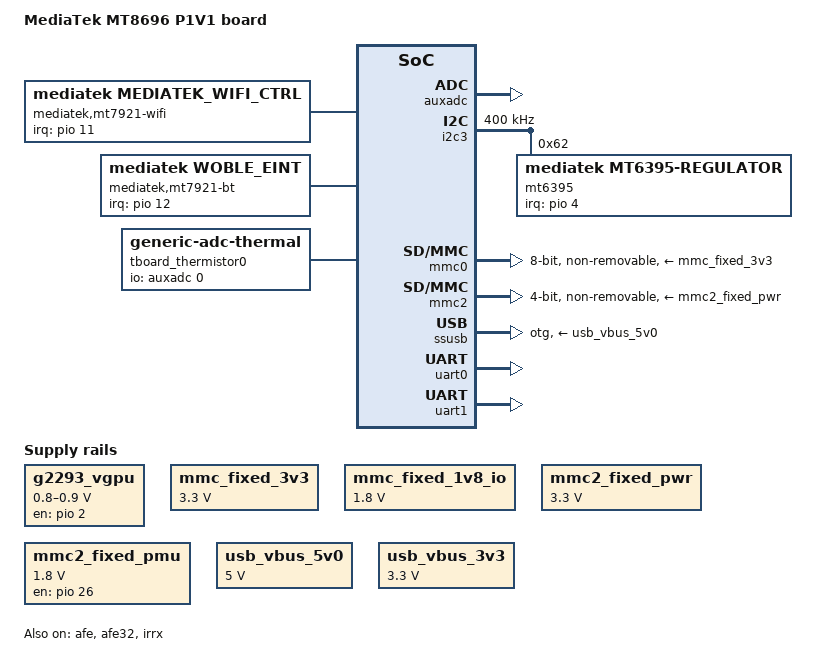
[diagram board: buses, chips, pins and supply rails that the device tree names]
// SPDX-License-Identifier: GPL-2.0+
/*
 * Copyright (c) 2020 MediaTek Inc.
 *
 */

/dts-v1/;

/plugin/;
#include <dt-bindings/interrupt-controller/irq.h>
#include "mediatek/mt8696-pinfunc.h"
#include <dt-bindings/gpio/gpio.h>

#define ROOT_NODE &odm

ROOT_NODE {
	model = "MediaTek MT8696 P1V1 board";
	extcon_usb: extcon_iddig {
		compatible = "linux,extcon-usb-gpio";
		status = "disabled";
	};

	g2293_vgpu: gpio-regulator {
		compatible = "regulator-gpio";
		regulator-name = "g2293_vgpu";
		regulator-min-microvolt = <800000>;
		regulator-max-microvolt = <900000>;
		enable-gpio = <&pio 2 GPIO_ACTIVE_HIGH>;
		gpios = <&pio 28 GPIO_ACTIVE_HIGH>;
		states = <800000 0x0
			900000 0x1>;
		startup-delay-us = <5000>;
		enable-active-high;
	};

	/* WOW IRQ : GPIO0 => EINT11 */
	mediatek,mt7921-wifi {
		compatible = "mediatek,mediatek_wifi_ctrl";
		interrupt-parent = <&pio>;
		interrupts = <11 IRQ_TYPE_LEVEL_LOW 0 0x0>;
		status = "okay";
	};

	/* WOBLE IRQ  GPIO1 => EINT12*/
	mediatek,mt7921-bt {
		compatible = "mediatek,woble_eint";
		interrupt-parent = <&pio>;
		interrupts = <12 IRQ_TYPE_LEVEL_LOW 1 0x0>;
		status = "okay";
	};

	tboard_thermistor0: thermal-sensor {
		compatible = "generic-adc-thermal";
		#thermal-sensor-cells = <0>;
		io-channels = <&auxadc 0>;
		io-channel-names = "sensor-channel";
		temperature-lookup-table = <
						(-40000)	1712
						(-35000)	1686
						(-30000)	1654
						(-25000)	1615
						(-20000)	1570
						(-15000)	1517
						(-10000)	1457
						(-5000)	1390
						0	1316
						5000	1238
						10000	1155
						15000	1070
						20000	985
						25000	900
						30000	817
						35000	737
						40000	663
						45000	593
						50000	529
						55000	471
						60000	418
						65000	370
						70000	328
						75000	290
						80000	258
						85000	228
						90000	203
						95000	180
						100000	160
						105000	143
						110000	127
						115000	114
						120000	102
						125000	91
		>;
	};

	mmc_fixed_3v3: fixedregulator@0 {
		compatible = "regulator-fixed";
		regulator-name = "mmc_power";
		regulator-min-microvolt = <3300000>;
		regulator-max-microvolt = <3300000>;
		enable-active-high;
	};

	mmc_fixed_1v8_io: fixedregulator@1 {
		compatible = "regulator-fixed";
		regulator-name = "mmc_io";
		regulator-min-microvolt = <1800000>;
		regulator-max-microvolt = <1800000>;
		enable-active-high;
	};

	mmc2_fixed_pwr: fixedregulator@2 {
		compatible = "regulator-fixed";
		regulator-name = "sdio_power";
		regulator-min-microvolt = <3300000>;
		regulator-max-microvolt = <3300000>;
		enable-active-high;
		regulator-always-on;
	};

	mmc2_fixed_pmu: fixedregulator@3 {
		compatible = "regulator-fixed";
		regulator-name = "sdio_pmu";
		regulator-min-microvolt = <1800000>;
		regulator-max-microvolt = <1800000>;
		startup-delay-us = <200000>;
		gpio = <&pio 26 0>;
		enable-active-high;
	};

	usb_vbus_5v0: fixedregulator@4 {
		compatible = "regulator-fixed";
		regulator-name = "vbus";
		regulator-min-microvolt = <5000000>;
		regulator-max-microvolt = <5000000>;
		regulator-type = "voltage";
		regulator-always-on;
	};

	usb_vbus_3v3: fixedregulator@5 {
		compatible = "regulator-fixed";
		regulator-name = "usb vbus";
		regulator-min-microvolt = <3300000>;
		regulator-max-microvolt = <3300000>;
		regulator-always-on;
	};
};

&afe {
	mediatek,etdm-clock-modes = <0 1>;
	mediatek,etdm-out-data-modes = <1 1>;
	mediatek,etdm-in-data-modes = <1 1>;
	mediatek,hdmi-clk-force-on = <1>;
	status = "okay";
};

&afe32 {
	mediatek,etdm-in-data-modes = <1 1 0>;
	mediatek,etdm-out-data-modes = <1 1 1>;
	mediatek,spdif-in-arc-mux = <2>;
	status = "okay";
};

&ap_ntc1 {
	thermal-sensors = <&tboard_thermistor0>;
};

&auxadc {
	status = "okay";
};

&dramc {
	dram_type = <5>;
	support_ch_cnt = <2>;
	ch_cnt = <2>;
	rk_cnt = <1>; /* dummy */
	mr_cnt = <4>;
	freq_cnt = <10>;
	rk_size = <0x40000000>;  /* dummy */
	mr = <0 0 0 0 0 0 0 0>;  /* dummy */
	freq_step = <3733 3200 0 0 0 0 0 0 0 0>;
};

&ethernet {
	pinctrl-names = "default";
	pinctrl-0 = <&eth_pins>;
	phy-handle = <&eth_phy>;
	eth-gpios = <&pio 149 0>;
	mac-address = [00 00 00 00 00 00];
	phy-mode = "rgmii";
	status = "disabled";
	mdio {
		#address-cells = <1>;
		#size-cells = <0>;

		eth_phy: ethernet-phy@1 {
			compatible = "ethernet-phy-id001c.c916";
			reg = <1>;
		};
	};
};

&hdmitx {
	pinctrl-names = "default";
	pinctrl-0 = <&hdmi_default>;
};

&i2c3 {
	status = "okay";
	clock-frequency = <400000>;

	mt6395: mt6395@62 {
		compatible = "mediatek,mt6395-regulator";
		mt6395,irq-gpios = <&pio 4 0x0>;
		reg = <0x62>;
		status = "okay";
		pinctrl-names = "default";
		pinctrl-0 = <&pmic_pins_eint>;
	};
};

&irrx {
	pinctrl-names = "default";
	pinctrl-0 = <&irrx_pins_ir_input>;
	status = "okay";
};

&mmc0 {
	status = "okay";
	pinctrl-names = "default", "state_uhs";
	pinctrl-0 = <&mmc0_pins_default>;
	pinctrl-1 = <&mmc0_pins_uhs>;
	bus-width = <8>;
	max-frequency = <200000000>;
	cap-mmc-highspeed;
	mmc-hs200-1_8v;
	mmc-hs400-1_8v;
	supports-cqe;
	hs400-ds-delay = <0x13014>;
	vmmc-supply = <&mmc_fixed_3v3>;
	vqmmc-supply = <&mmc_fixed_1v8_io>;
	non-removable;
	no-sd;
	no-sdio;
};

&mmc2 {
	status = "okay";
	pinctrl-names = "default", "state_uhs", "state_eint",
					"state_dat1", "state_low";
	pinctrl-0 = <&mmc2_pins_default>;
	pinctrl-1 = <&mmc2_pins_uhs>;
	pinctrl-2 = <&mmc2_pins_eint>;
	pinctrl-3 = <&mmc2_pins_dat1>;
	pinctrl-4 = <&mmc2_pins_low>;
	eint-gpios = <&pio 44 0>;
	bus-width = <4>;
	max-frequency = <200000000>;
	cap-sd-highspeed;
	/*sd-uhs-ddr208;*/
	sd-uhs-sdr104;
	sd-uhs-sdr50;
	sd-uhs-sdr25;
	keep-power-in-suspend;
	enable-sdio-wakeup;
	cap-sdio-irq;
	cap-sdio-async-int;
	no-mmc;
	no-sd;
	non-removable;
	vmmc-supply = <&mmc2_fixed_pwr>;
	vqmmc-supply = <&mmc2_fixed_pmu>;
};

&pio {
	eth_pins: eth_default_pins {
		tx_pins {
			pinmux = <PINMUX_GPIO133__FUNC_GBE_TXD3>,
				 <PINMUX_GPIO134__FUNC_GBE_TXD2>,
				 <PINMUX_GPIO135__FUNC_GBE_TXD1>,
				 <PINMUX_GPIO136__FUNC_GBE_TXD0>,
				 <PINMUX_GPIO137__FUNC_GBE_TXC>,
				 <PINMUX_GPIO138__FUNC_GBE_TXEN>;
			drive-strength = <MTK_DRIVE_8mA>;
			bias-disable;
		};
		rx_pins {
			pinmux = <PINMUX_GPIO139__FUNC_GBE_RXD3>,
				 <PINMUX_GPIO140__FUNC_GBE_RXD2>,
				 <PINMUX_GPIO141__FUNC_GBE_RXD1>,
				 <PINMUX_GPIO142__FUNC_GBE_RXD0>,
				 <PINMUX_GPIO143__FUNC_GBE_RXDV>,
				 <PINMUX_GPIO145__FUNC_GBE_RXC>;
			drive-strength = <MTK_DRIVE_8mA>;
			bias-disable;
		};
		mdio_pins {
			pinmux = <PINMUX_GPIO146__FUNC_GBE_MDC>,
				 <PINMUX_GPIO147__FUNC_GBE_MDIO>;
			drive-strength = <MTK_DRIVE_8mA>;
			bias-disable;
		};
		phy_rstb {
			pinmux = <PINMUX_GPIO148__FUNC_GPIO148>;
			output-high;
		};
		gbe_vio33_en {
			pinmux = <PINMUX_GPIO150__FUNC_GPIO150>;
			output-high;
		};
	};

	hdmi_default: hdmi {
		hdmi_cec {
			pinmux = <PINMUX_GPIO110__FUNC_HDMITX20_CEC>;
			bias-disable;
		};
		hdmi_pins {
			pinmux = <PINMUX_GPIO112__FUNC_HDMITX20_SCL>,
				<PINMUX_GPIO113__FUNC_HDMITX20_SDA>;
			bias-disable;
		};
		hdmi_hotplug {
			pinmux = <PINMUX_GPIO111__FUNC_HDMITX20_HTPLG>;
			bias-pull-down;
		};
		hdmi_5vctl {
			pinmux = <PINMUX_GPIO2__FUNC_GPIO2>;
		};
	};

	irrx_pins_ir_input: irrx_pin_ir {
		pins_cmd_dat {
			pinmux = <PINMUX_GPIO63__FUNC_IR_IN>;
			bias-disable;
		};
	};

	mmc0_pins_default: mmc0default {
		pins_cmd_dat {
			pinmux = <PINMUX_GPIO56__FUNC_MSDC0_DAT0>,
				 <PINMUX_GPIO55__FUNC_MSDC0_DAT1>,
				 <PINMUX_GPIO54__FUNC_MSDC0_DAT2>,
				 <PINMUX_GPIO53__FUNC_MSDC0_DAT3>,
				 <PINMUX_GPIO52__FUNC_MSDC0_DAT4>,
				 <PINMUX_GPIO51__FUNC_MSDC0_DAT5>,
				 <PINMUX_GPIO50__FUNC_MSDC0_DAT6>,
				 <PINMUX_GPIO49__FUNC_MSDC0_DAT7>,
				 <PINMUX_GPIO57__FUNC_MSDC0_CMD>;
			input-enable;
			bias-pull-up;
		};

		pins_clk {
			pinmux = <PINMUX_GPIO48__FUNC_MSDC0_CLK>;
			bias-pull-down;
		};

		pins_rst {
			pinmux = <PINMUX_GPIO58__FUNC_MSDC0_RSTB>;
			bias-pull-up;
		};
	};

	mmc0_pins_uhs: mmc0 {
		pins_cmd_dat {
			pinmux = <PINMUX_GPIO56__FUNC_MSDC0_DAT0>,
				 <PINMUX_GPIO55__FUNC_MSDC0_DAT1>,
				 <PINMUX_GPIO54__FUNC_MSDC0_DAT2>,
				 <PINMUX_GPIO53__FUNC_MSDC0_DAT3>,
				 <PINMUX_GPIO52__FUNC_MSDC0_DAT4>,
				 <PINMUX_GPIO51__FUNC_MSDC0_DAT5>,
				 <PINMUX_GPIO50__FUNC_MSDC0_DAT6>,
				 <PINMUX_GPIO49__FUNC_MSDC0_DAT7>,
				 <PINMUX_GPIO57__FUNC_MSDC0_CMD>;
			input-enable;
			drive-strength = <MTK_DRIVE_6mA>;
			bias-pull-up = <MTK_PUPD_SET_R1R0_01>;
		};

		pins_clk {
			pinmux = <PINMUX_GPIO48__FUNC_MSDC0_CLK>;
			drive-strength = <MTK_DRIVE_6mA>;
			bias-pull-down = <MTK_PUPD_SET_R1R0_10>;
		};

		pins_ds {
			pinmux = <PINMUX_GPIO47__FUNC_MSDC0_DSL>;
			drive-strength = <MTK_DRIVE_6mA>;
			bias-pull-down = <MTK_PUPD_SET_R1R0_10>;
		};

		pins_rst {
			pinmux = <PINMUX_GPIO58__FUNC_MSDC0_RSTB>;
			drive-strength = <MTK_DRIVE_6mA>;
			bias-pull-up;
		};
	};

	mmc2_pins_default: mmc2default {
		pins_clk {
			pinmux = <PINMUX_GPIO40__FUNC_MSDC2_CLK>;
			drive-strength = <MTK_DRIVE_4mA>;
			bias-pull-down = <MTK_PUPD_SET_R1R0_10>;
		};

		pins_cmd_dat {
			pinmux = <PINMUX_GPIO45__FUNC_MSDC2_DAT0>,
				 <PINMUX_GPIO44__FUNC_MSDC2_DAT1>,
				 <PINMUX_GPIO43__FUNC_MSDC2_DAT2>,
				 <PINMUX_GPIO42__FUNC_MSDC2_DAT3>,
				 <PINMUX_GPIO46__FUNC_MSDC2_CMD>;
			input-enable;
			drive-strength = <MTK_DRIVE_4mA>;
			bias-pull-up = <MTK_PUPD_SET_R1R0_01>;
		};
	};

	mmc2_pins_uhs: mmc2 {
		pins_clk {
			pinmux = <PINMUX_GPIO40__FUNC_MSDC2_CLK>;
			drive-strength = <MTK_DRIVE_4mA>;
			bias-pull-down = <MTK_PUPD_SET_R1R0_10>;
		};

		pins_cmd_dat {
			pinmux = <PINMUX_GPIO45__FUNC_MSDC2_DAT0>,
				 <PINMUX_GPIO44__FUNC_MSDC2_DAT1>,
				 <PINMUX_GPIO43__FUNC_MSDC2_DAT2>,
				 <PINMUX_GPIO42__FUNC_MSDC2_DAT3>,
				 <PINMUX_GPIO46__FUNC_MSDC2_CMD>;
			input-enable;
			drive-strength = <MTK_DRIVE_4mA>;
			bias-pull-up = <MTK_PUPD_SET_R1R0_01>;
		};

		pins_ds {
			pinmux = <PINMUX_GPIO41__FUNC_MSDC2_DSL>;
			drive-strength = <MTK_DRIVE_4mA>;
			bias-pull-down = <MTK_PUPD_SET_R1R0_10>;
		};
	};

	mmc2_pins_eint: dat1_eint {
		pins_dat1 {
			pinmux = <PINMUX_GPIO44__FUNC_GPIO44>;
			input-enable;
			bias-pull-up = <MTK_PUPD_SET_R1R0_01>;
		};
	};

	mmc2_pins_dat1: sdio_dat1 {
		pins_dat1 {
			pinmux = <PINMUX_GPIO44__FUNC_MSDC2_DAT1>;
			input-enable;
			drive-strength = <MTK_DRIVE_4mA>;
			bias-pull-up = <MTK_PUPD_SET_R1R0_01>;
		};
	};

	mmc2_pins_low: sdio_low {
		pins_low {
			pinmux = <PINMUX_GPIO45__FUNC_GPIO45>,
				 <PINMUX_GPIO43__FUNC_GPIO43>,
				 <PINMUX_GPIO42__FUNC_GPIO42>,
				 <PINMUX_GPIO46__FUNC_GPIO46>,
				 <PINMUX_GPIO41__FUNC_GPIO41>;
			input-disable;
			bias-disable;
		};
	};

	pmic_pins_eint: pmic_pins_eint{
		pmic_pins {
			pinmux = <PINMUX_GPIO4__FUNC_GPIO4>;
			bias-disable;
		};
	};
};

&ssusb {
	vusb33-supply = <&usb_vbus_3v3>;
	vbus-supply = <&usb_vbus_5v0>;
	/* valid string: "", "host", "peripheral", "otg" */
	dr_mode = "otg";

	/*usb3-lpm-capable;*/
	/* wakeup-source; */
	maximum-speed = "high-speed";
	enable-manual-drd;

	default_mode = "peripheral";

	status = "okay";
};

&uart0 {
	status = "okay";
};

&uart1 {
	status = "okay";
};

&scpsys {
	mfg-supply = <&g2293_vgpu>;
};

&mfg {
	reg-vgpu-supply = <&g2293_vgpu>;
};

&atf_aee_log_reserved_mem {
	compatible = "mediatek,mt8696-atf-aee-log";
	reg = <0 0x57240000 0 0x1000>;
};

&mboot_params_reserved_memory {
	compatible = "mediatek,mboot_params";
	reg = <0 0x59400000 0 0x1000>;
};

&ramoops {
	compatible = "ramoops";
	reg = <0 0x59410000 0 0x40000>;
	console-size = <0x40000>;
	pmsg-size = <0x0>;
};

&minirdump_reserved_memory {
	compatible = "mediatek,minirdump";
	reg = <0 0x594f0000 0 0x10000>;
};

&mrdump_cb_reserved_memory {
	compatible = "mediatek,mrdump_cb";
	reg = <0 0x59500000 0 0x1000>;
};

#include "mediatek/mt6395.dtsi"
